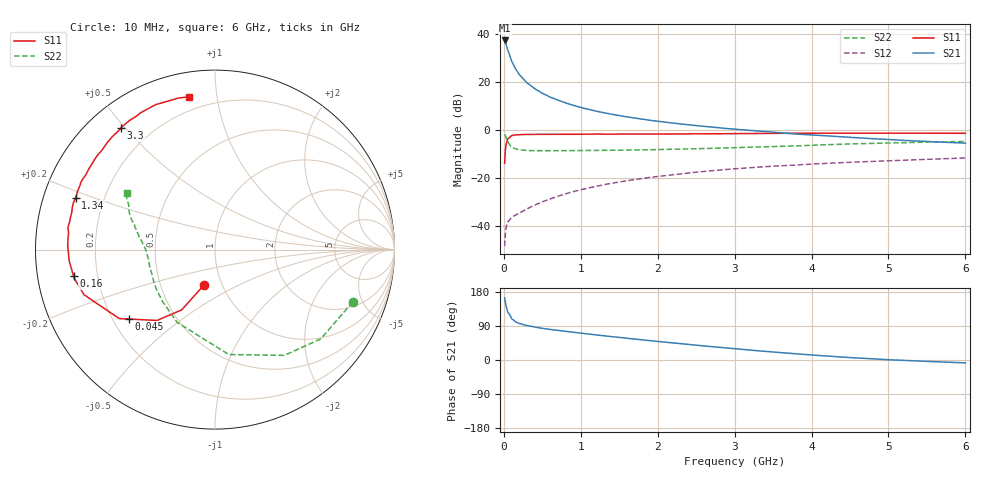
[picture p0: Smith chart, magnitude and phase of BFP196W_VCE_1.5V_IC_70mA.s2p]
! Infineon Technologies  Discrete & RF Semiconductors
! BFP196W
! VCE = 1.5 V,  IC =  70mA
! Common Emitter S-Parameters:  Jan 2016
# GHz  S  MA  R  50
!  f  S11  S21  S12  S22
! GHz  MAG  ANG  MAG  ANG  MAG  ANG  MAG  ANG
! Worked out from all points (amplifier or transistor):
!   210 points, 10 MHz to 6 GHz, reference 50 ohm
!   highest |S21| = 37.3 dB at 10 MHz (marker M1)
!   |S21| within 3 dB of that: start of sweep to 42.09 MHz
!   unconditionally stable (mu >= 1): 442.5 MHz to 3.383 GHz; 3.778 GHz to 3.807 GHz
!   at 185 MHz: K = 0.69, MSG = 29.3 dB, |S12| = -34.7 dB
!   at 1.52 GHz: K = 1.12, MAG = 11.6 dB, |S12| = -21.4 dB
!   at 6 GHz: K = 0.98, MSG = 3.1 dB, |S12| = -11.5 dB
!   S11 on the Smith chart (normalised r, x): 10 MHz: 0.82, -0.34; 45 MHz: 0.26, -0.33; 160 MHz: 0.11, -0.09; 1.34 GHz: 0.10, +0.18; 3.3 GHz: 0.10, +0.49; 6 GHz: 0.13, +0.84
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0.01  0.2052 -107.1  73.35 164.1  0.0039 73.7  0.8213 -20.8
0.02  0.3835 -118.9  68.48 152.0  0.0072 63.9  0.7711 -40.2
0.03  0.5104 -129.3  60.94 141.4  0.0097 57.5  0.7044 -56.8
0.045  0.6171 -141.2  49.95 130.8  0.0116 48.9  0.6057 -75.3
0.05  0.6572 -144.2  46.78 126.2  0.0123 46.7  0.5896 -82.5
0.1  0.772 -161.0  27.52 109.0  0.0154 40.1  0.4571 -117.5
0.15  0.8011 -168.6  19 100.7  0.0172 41.5  0.4111 -135.3
0.16  0.802 -169.4  18.07 100.0  0.0175 42.3  0.4067 -137.3
0.2  0.8075 -172.7  14.39 96.5  0.0189 45.4  0.3943 -145.7
0.26  0.8155 -176.1  11.25 92.8  0.0214 48.7  0.3847 -152.9
0.3  0.8157 -177.9  9.666 90.9  0.0232 51.3  0.379 -156.8
0.4  0.8208 178.6  7.298 86.8  0.0278 56.3  0.3761 -162.5
0.6  0.8206 173.7  4.896 80.6  0.0373 61.1  0.3748 -169.2
0.8  0.8246 169.3  3.695 75.6  0.0476 63.5  0.3752 -172.6
1.02  0.825 165.2  2.916 70.5  0.059 64.3  0.3785 -175.4
1.34  0.8287 159.5  2.246 63.0  0.0759 63.5  0.3833 -178.2
2.02  0.834 147.9  1.522 48.6  0.1106 59.3  0.3967 176.9
3.1  0.8511 130.8  1.021 28.0  0.1622 49.2  0.4391 168.3
3.3  0.8557 127.8  0.966 24.4  0.1709 47.2  0.4492 166.6
4.1  0.868 117.2  0.782 11.9  0.2017 39.9  0.4944 160.1
5.1  0.8674 106.7  0.628 -0.1  0.2353 31.5  0.5463 152.1
6  0.8632 99.5  0.54 -7.6  0.2651 24.9  0.5842 147.5
